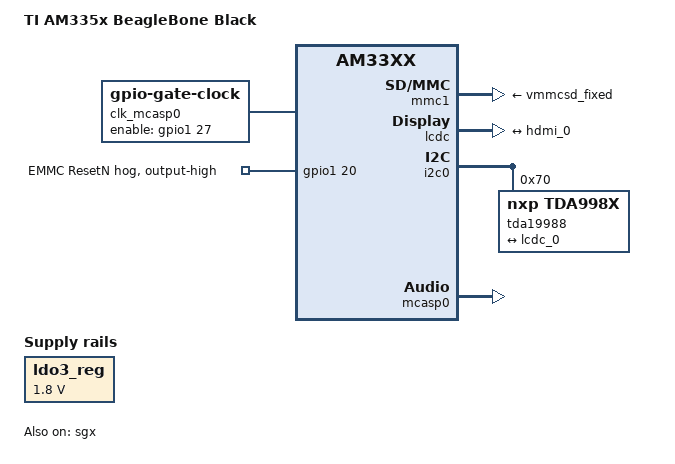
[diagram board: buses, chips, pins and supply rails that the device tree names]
/*
 * Copyright (C) 2012 Texas Instruments Incorporated - http://www.ti.com/
 *
 * This program is free software; you can redistribute it and/or modify
 * it under the terms of the GNU General Public License version 2 as
 * published by the Free Software Foundation.
 */
/dts-v1/;

#include "am33xx.dtsi"
#include "am335x-bone-common.dtsi"
#include "am33xx-overlay-edma-fix.dtsi"

/ {
	model = "TI AM335x BeagleBone Black";
	compatible = "ti,am335x-bone-black", "ti,am335x-bone", "ti,am33xx";
};

&ldo3_reg {
	regulator-min-microvolt = <1800000>;
	regulator-max-microvolt = <1800000>;
	regulator-always-on;
};

&mmc1 {
	vmmc-supply = <&vmmcsd_fixed>;
};

&sgx {
	status = "okay";
};

/* EMMC in reset */
&gpio1 {
	emmc_rst {
		gpio-hog;
		gpios = <20 0>;
		output-high;
		line-name = "EMMC ResetN";
	};
};

&am33xx_pinmux {
	nxp_hdmi_bonelt_pins: nxp_hdmi_bonelt_pins {
		pinctrl-single,pins = <
			0x1b0 0x03      /* xdma_event_intr0, OMAP_MUX_MODE3 | AM33XX_PIN_OUTPUT */
			0xa0 0x08       /* lcd_data0.lcd_data0, OMAP_MUX_MODE0 | AM33XX_PIN_OUTPUT | AM33XX_PULL_DISA */
			0xa4 0x08       /* lcd_data1.lcd_data1, OMAP_MUX_MODE0 | AM33XX_PIN_OUTPUT | AM33XX_PULL_DISA */
			0xa8 0x08       /* lcd_data2.lcd_data2, OMAP_MUX_MODE0 | AM33XX_PIN_OUTPUT | AM33XX_PULL_DISA */
			0xac 0x08       /* lcd_data3.lcd_data3, OMAP_MUX_MODE0 | AM33XX_PIN_OUTPUT | AM33XX_PULL_DISA */
			0xb0 0x08       /* lcd_data4.lcd_data4, OMAP_MUX_MODE0 | AM33XX_PIN_OUTPUT | AM33XX_PULL_DISA */
			0xb4 0x08       /* lcd_data5.lcd_data5, OMAP_MUX_MODE0 | AM33XX_PIN_OUTPUT | AM33XX_PULL_DISA */
			0xb8 0x08       /* lcd_data6.lcd_data6, OMAP_MUX_MODE0 | AM33XX_PIN_OUTPUT | AM33XX_PULL_DISA */
			0xbc 0x08       /* lcd_data7.lcd_data7, OMAP_MUX_MODE0 | AM33XX_PIN_OUTPUT | AM33XX_PULL_DISA */
			0xc0 0x08       /* lcd_data8.lcd_data8, OMAP_MUX_MODE0 | AM33XX_PIN_OUTPUT | AM33XX_PULL_DISA */
			0xc4 0x08       /* lcd_data9.lcd_data9, OMAP_MUX_MODE0 | AM33XX_PIN_OUTPUT | AM33XX_PULL_DISA */
			0xc8 0x08       /* lcd_data10.lcd_data10, OMAP_MUX_MODE0 | AM33XX_PIN_OUTPUT | AM33XX_PULL_DISA */
			0xcc 0x08       /* lcd_data11.lcd_data11, OMAP_MUX_MODE0 | AM33XX_PIN_OUTPUT | AM33XX_PULL_DISA */
			0xd0 0x08       /* lcd_data12.lcd_data12, OMAP_MUX_MODE0 | AM33XX_PIN_OUTPUT | AM33XX_PULL_DISA */
			0xd4 0x08       /* lcd_data13.lcd_data13, OMAP_MUX_MODE0 | AM33XX_PIN_OUTPUT | AM33XX_PULL_DISA */
			0xd8 0x08       /* lcd_data14.lcd_data14, OMAP_MUX_MODE0 | AM33XX_PIN_OUTPUT | AM33XX_PULL_DISA */
			0xdc 0x08       /* lcd_data15.lcd_data15, OMAP_MUX_MODE0 | AM33XX_PIN_OUTPUT | AM33XX_PULL_DISA */
			0xe0 0x00       /* lcd_vsync.lcd_vsync, OMAP_MUX_MODE0 | AM33XX_PIN_OUTPUT */
			0xe4 0x00       /* lcd_hsync.lcd_hsync, OMAP_MUX_MODE0 | AM33XX_PIN_OUTPUT */
			0xe8 0x00       /* lcd_pclk.lcd_pclk, OMAP_MUX_MODE0 | AM33XX_PIN_OUTPUT */
			0xec 0x00       /* lcd_ac_bias_en.lcd_ac_bias_en, OMAP_MUX_MODE0 | AM33XX_PIN_OUTPUT */
		>;
	};
	nxp_hdmi_bonelt_off_pins: nxp_hdmi_bonelt_off_pins {
		pinctrl-single,pins = <
			0x1b0 0x03      /* xdma_event_intr0, OMAP_MUX_MODE3 | AM33XX_PIN_OUTPUT */
		>;
	};

	mcasp0_pins: mcasp0_pins {
		pinctrl-single,pins = <
			0x1ac (PIN_INPUT_PULLUP | MUX_MODE0)	/* mcasp0_ahclkx.mcasp0_ahclkx */
			0x19c (PIN_OUTPUT_PULLDOWN | MUX_MODE2) /* mcasp0_ahclkr.mcasp0_axr2 */
			0x194 (PIN_OUTPUT_PULLUP | MUX_MODE0)	/* mcasp0_fsx.mcasp0_fsx */
			0x190 (PIN_OUTPUT_PULLDOWN | MUX_MODE0)	/* mcasp0_aclkx.mcasp0_aclkx */
			0x06c (PIN_OUTPUT_PULLDOWN | MUX_MODE7)	/* gpmc_a11.GPIO1_27 */
		>;
	};

	mcasp0_pins_sleep: mcasp0_pins_sleep {
		pinctrl-single,pins = <
			0x1ac (PIN_INPUT_PULLDOWN | MUX_MODE7)	/* mcasp0_ahclkx.mcasp0_ahclkx */
			0x19c (PIN_INPUT_PULLDOWN | MUX_MODE7) /* mcasp0_ahclkr.mcasp0_axr2 */
			0x194 (PIN_INPUT_PULLDOWN | MUX_MODE7)	/* mcasp0_fsx.mcasp0_fsx */
			0x190 (PIN_INPUT_PULLDOWN | MUX_MODE7)	/* mcasp0_aclkx.mcasp0_aclkx */
			0x06c (PIN_INPUT_PULLDOWN | MUX_MODE7)	/* gpmc_a11.GPIO1_27 */
		>;
	};
};

&lcdc {
	status = "okay";
	port {
		lcdc_0: endpoint@0 {
			remote-endpoint = <&hdmi_0>;
		};
	};
};

&i2c0 {
	tda19988 {
		compatible = "nxp,tda998x";
		reg = <0x70>;
		pinctrl-names = "default", "off";
		pinctrl-0 = <&nxp_hdmi_bonelt_pins>;
		pinctrl-1 = <&nxp_hdmi_bonelt_off_pins>;
		port {
			hdmi_0: endpoint@0 {
				remote-endpoint = <&lcdc_0>;
			};
		};
	};
};

&mcasp0	{
	pinctrl-names = "default", "sleep";
	pinctrl-0 = <&mcasp0_pins>;
	pinctrl-1 = <&mcasp0_pins_sleep>;
	status = "okay";
	op-mode = <0>;	/* MCASP_IIS_MODE */
	tdm-slots = <2>;
	serial-dir = <	/* 0: INACTIVE, 1: TX, 2: RX */
			0 0 1 0
		>;
	tx-num-evt = <1>;
	rx-num-evt = <1>;
};

/ {
	clk_mcasp0_fixed: clk_mcasp0_fixed {
	      #clock-cells = <0>;
	      compatible = "fixed-clock";
	      clock-frequency = <24576000>;
	};

	clk_mcasp0: clk_mcasp0 {
	      #clock-cells = <0>;
	      compatible = "gpio-gate-clock";
	      clocks = <&clk_mcasp0_fixed>;
	      enable-gpios = <&gpio1 27 0>; /* BeagleBone Black Clk enable on GPIO1_27 */
	};

	hdmi_audio: hdmi_audio@0 {
	       compatible = "linux,hdmi-audio";
	       status = "okay";
	};

	sound {
		compatible = "ti,beaglebone-black-audio";
		ti,model = "TI BeagleBone Black";
		ti,audio-codec = <&hdmi_audio>;
		ti,mcasp-controller = <&mcasp0>;
		ti,audio-routing =
			"HDMI Out",	"TX";
		clocks = <&clk_mcasp0>;
		clock-names = "mclk";
	};
};
